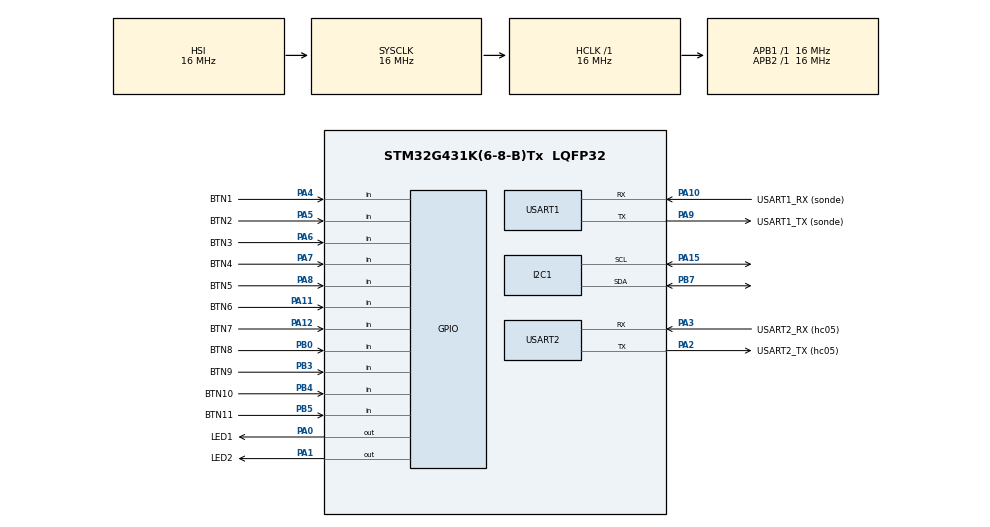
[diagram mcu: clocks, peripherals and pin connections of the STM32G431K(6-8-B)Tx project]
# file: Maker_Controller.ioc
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I2C1.Timing=0x00503D58
Mcu.Family=STM32G4
Mcu.Name=STM32G431K(6-8-B)Tx
Mcu.Package=LQFP32
NVIC.PriorityGroup=NVIC_PRIORITYGROUP_4
PA0.GPIO_Label=LED1
PA0.Signal=GPIO_Output
PA1.GPIO_Label=LED2
PA1.Signal=GPIO_Output
PA10.GPIO_Label=USART1_RX (sonde)
PA10.Mode=Asynchronous
PA10.Signal=USART1_RX
PA11.GPIO_Label=BTN6
PA11.Signal=GPIO_Input
PA12.GPIO_Label=BTN7
PA12.Signal=GPIO_Input
PA13.Mode=Serial_Wire
PA13.Signal=SYS_JTMS-SWDIO
PA14.Mode=Serial_Wire
PA14.Signal=SYS_JTCK-SWCLK
PA15.Mode=I2C
PA15.Signal=I2C1_SCL
PA2.GPIO_Label=USART2_TX (hc05)
PA2.Mode=Asynchronous
PA2.Signal=USART2_TX
PA3.GPIO_Label=USART2_RX (hc05)
PA3.Mode=Asynchronous
PA3.Signal=USART2_RX
PA4.GPIO_Label=BTN1
PA4.Signal=GPIO_Input
PA5.GPIO_Label=BTN2
PA5.Signal=GPIO_Input
PA6.GPIO_Label=BTN3
PA6.Signal=GPIO_Input
PA7.GPIO_Label=BTN4
PA7.Signal=GPIO_Input
PA8.GPIO_Label=BTN5
PA8.Signal=GPIO_Input
PA9.GPIO_Label=USART1_TX (sonde)
PA9.Mode=Asynchronous
PA9.Signal=USART1_TX
PB0.GPIO_Label=BTN8
PB0.Signal=GPIO_Input
PB3.GPIO_Label=BTN9
PB3.Signal=GPIO_Input
PB4.GPIO_Label=BTN10
PB4.Signal=GPIO_Input
PB5.GPIO_Label=BTN11
PB5.Signal=GPIO_Input
PB7.Mode=I2C
PB7.Signal=I2C1_SDA
ProjectManager.HeapSize=0x200
ProjectManager.StackSize=0x400
ProjectManager.TargetToolchain=STM32CubeIDE
RCC.AHBFreq_Value=16000000
RCC.APB1Freq_Value=16000000
RCC.APB1TimFreq_Value=16000000
RCC.APB2Freq_Value=16000000
RCC.APB2TimFreq_Value=16000000
RCC.CortexFreq_Value=16000000
RCC.EXTERNAL_CLOCK_VALUE=12288000
RCC.HCLKFreq_Value=16000000
RCC.HSE_VALUE=8000000
RCC.HSI48_VALUE=48000000
RCC.HSI_VALUE=16000000
RCC.LSE_VALUE=32768
RCC.SYSCLKFreq_VALUE=16000000
RCC.USBFreq_Value=64000000
RCC.VCOOutputFreq_Value=128000000
USART1.VirtualMode-Asynchronous=VM_ASYNC
USART2.VirtualMode-Asynchronous=VM_ASYNC
VP_SYS_VS_DBSignals.Mode=DisableDeadBatterySignals
board=custom

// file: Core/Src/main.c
/* USER CODE BEGIN Header */
/**
  ******************************************************************************
  * @file           : main.c
  * @brief          : Main program body
  ******************************************************************************
  * @attention
  *
  * Copyright (c) 2025 STMicroelectronics.
  * All rights reserved.
  *
  * This software is licensed under terms that can be found in the LICENSE file
  * in the root directory of this software component.
  * If no LICENSE file comes with this software, it is provided AS-IS.
  *
  ******************************************************************************
  */
/* USER CODE END Header */
#include "main.h"
#include "i2c.h"
#include "usart.h"
#include "gpio.h"

void SystemClock_Config(void);

/* USER CODE BEGIN 0 */
#ifdef __GNUC__
#define PUTCHAR_PROTOTYPE int __io_putchar(int ch)
#define GETCHAR_PROTOTYPE int __io_getchar(void)
#else
#define PUTCHAR_PROTOTYPE int fputc(int ch, FILE *f)
#define GETCHAR_PROTOTYPE int fgetc(FILE *f)
#endif

PUTCHAR_PROTOTYPE {
    HAL_UART_Transmit(&huart2, (uint8_t *)&ch, 1, HAL_MAX_DELAY);
    return ch;
}

GETCHAR_PROTOTYPE
{
	uint8_t ch = 0;

	/* Clear the Overrun flag just before receiving the first character */
	__HAL_UART_CLEAR_OREFLAG(&huart2);

	/* Wait for reception of a character on the USART RX line and echo this
	 * character on console */
	HAL_UART_Receive(&huart2, (uint8_t *)&ch, 1, HAL_MAX_DELAY);
	HAL_UART_Transmit(&huart2, (uint8_t *)&ch, 1, HAL_MAX_DELAY);
	return ch;
}

///////////////////////////////////////////////////////// BLUETOOTH PROTOCOL //////////////////////////////////////////////////////////////////////
char startChar = '@';
char endChar = '#';

uint8_t rx_char; // Variable to store the received character

char instruction[200];
int instructionIndex = 0;

int UARTReceiverState = 0;

volatile int flagUART1 = 0;

void HAL_UART_RxCpltCallback(UART_HandleTypeDef *huart) {
	// Re-enable UART interrupt reception
	HAL_UART_Receive_IT(&huart3, &rx_char, 1);

	instruction[instructionIndex] = rx_char;
	instructionIndex++;

	if (rx_char == '#')
	{
		instruction[instructionIndex] = 0; // 0 character for the printf
		instructionIndex = 0;
		flagUART1 = 1;
	}
}

/* USER CODE END 0 */

int main(void)
{

  /* MCU Configuration--------------------------------------------------------*/

  /* Reset of all peripherals, Initializes the Flash interface and the Systick. */
  HAL_Init();

  /* Configure the system clock */
  SystemClock_Config();

  /* Initialize all configured peripherals */
  MX_GPIO_Init();
  MX_I2C1_Init();
  MX_USART1_UART_Init();
  MX_USART2_UART_Init();

  /* Infinite loop */
  while (1)
  {

  }
}

void SystemClock_Config(void)
{
  RCC_OscInitTypeDef RCC_OscInitStruct = {0};
  RCC_ClkInitTypeDef RCC_ClkInitStruct = {0};

  /** Configure the main internal regulator output voltage
  */
  HAL_PWREx_ControlVoltageScaling(PWR_REGULATOR_VOLTAGE_SCALE1);

  /** Initializes the RCC Oscillators according to the specified parameters
  * in the RCC_OscInitTypeDef structure.
  */
  RCC_OscInitStruct.OscillatorType = RCC_OSCILLATORTYPE_HSI;
  RCC_OscInitStruct.HSIState = RCC_HSI_ON;
  RCC_OscInitStruct.HSICalibrationValue = RCC_HSICALIBRATION_DEFAULT;
  RCC_OscInitStruct.PLL.PLLState = RCC_PLL_NONE;
  if (HAL_RCC_OscConfig(&RCC_OscInitStruct) != HAL_OK)
  {
    Error_Handler();
  }

  /** Initializes the CPU, AHB and APB buses clocks
  */
  RCC_ClkInitStruct.ClockType = RCC_CLOCKTYPE_HCLK|RCC_CLOCKTYPE_SYSCLK
                              |RCC_CLOCKTYPE_PCLK1|RCC_CLOCKTYPE_PCLK2;
  RCC_ClkInitStruct.SYSCLKSource = RCC_SYSCLKSOURCE_HSI;
  RCC_ClkInitStruct.AHBCLKDivider = RCC_SYSCLK_DIV1;
  RCC_ClkInitStruct.APB1CLKDivider = RCC_HCLK_DIV1;
  RCC_ClkInitStruct.APB2CLKDivider = RCC_HCLK_DIV1;

  if (HAL_RCC_ClockConfig(&RCC_ClkInitStruct, FLASH_LATENCY_0) != HAL_OK)
  {
    Error_Handler();
  }
}

void Error_Handler(void)
{
  __disable_irq();
  while (1)
  {
  }
}
